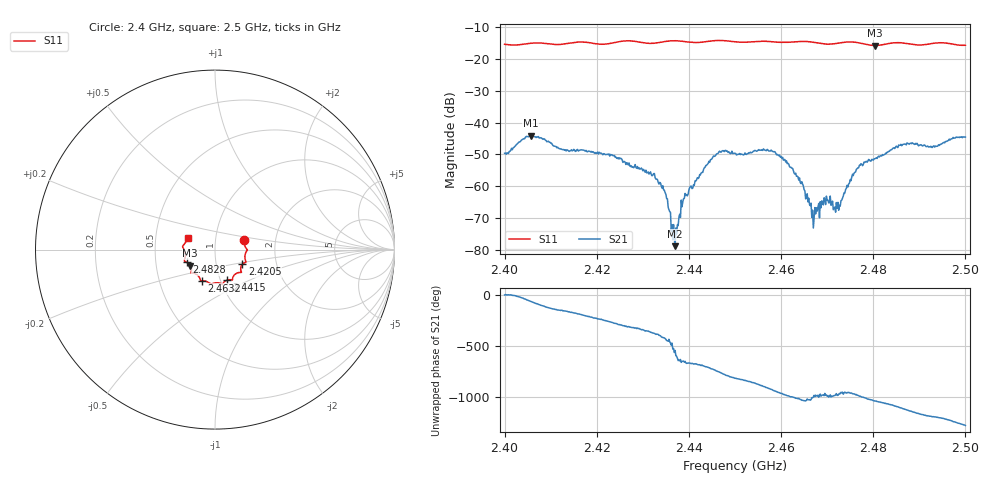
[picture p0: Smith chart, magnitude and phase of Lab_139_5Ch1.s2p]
# Hz S RI R 50
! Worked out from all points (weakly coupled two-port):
!   601 points, 2.4 GHz to 2.5 GHz, reference 50 ohm
!   highest |S21| = -44.15 dB at 2.4057 GHz (marker M1); lowest = -79.0 dB at 2.437 GHz (marker M2)
!   lowest |S11| = -15.7 dB at 2.4803 GHz (marker M3), VSWR 1.39, Z = 37.3 - j6.84 ohm
!   |S11| at or under -10 dB: start of sweep to end of sweep
!   S12 and S22 are empty: the file has one direction only
!   S11 on the Smith chart (normalised r, x): 2.4 GHz: 1.38, +0.15; 2.4205 GHz: 1.34, -0.23; 2.4415 GHz: 1.07, -0.38; 2.4632 GHz: 0.82, -0.29; 2.4828 GHz: 0.72, -0.10; 2.5 GHz: 0.73, +0.10
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2.4e9  0.1635 0.0517  0.00328 0.000162  0 0  0 0
2.405667e9  0.1782 0.00189  0.00309 -0.00538  0 0  0 0
2.416667e9  0.173 -0.0699  -0.00366 0.000688  0 0  0 0
2.4205e9  0.1521 -0.0819  -0.00202 0.00276  0 0  0 0
2.433333e9  0.1006 -0.1514  0.00105 -0.000464  0 0  0 0
2.434833e9  0.0974 -0.1628  0.000337 -0.000713  0 0  0 0
2.4365e9  0.097 -0.1693  -0.000139 -2.99e-05  0 0  0 0
2.437e9  0.0964 -0.1697  -0.000113 3.71e-06  0 0  0 0
2.438833e9  0.0891 -0.1682  0.000182 0.000602  0 0  0 0
2.4415e9  0.0656 -0.1705  0.000807 0.000891  0 0  0 0
2.446333e9  0.041 -0.1929  0.00284 -0.00164  0 0  0 0
2.45e9  0.0244 -0.1864  -0.000332 -0.00328  0 0  0 0
2.458167e9  -0.0328 -0.1852  -0.00303 0.00181  0 0  0 0
2.463167e9  -0.073 -0.1739  0.000596 0.00148  0 0  0 0
2.466667e9  -0.082 -0.1671  9e-05 0.000309  0 0  0 0
2.469833e9  -0.0975 -0.1424  -0.000121 0.000683  0 0  0 0
2.472333e9  -0.1215 -0.1309  -6.42e-05 0.000549  0 0  0 0
2.476833e9  -0.1322 -0.1236  -0.00012 0.00194  0 0  0 0
2.480333e9  -0.1378 -0.0892  0.00199 0.00181  0 0  0 0
2.482833e9  -0.1588 -0.0701  0.00314 0.000839  0 0  0 0
2.483333e9  -0.1626 -0.0682  0.00345 0.000694  0 0  0 0
2.5e9  -0.1526 0.0645  -0.00561 0.0019  0 0  0 0
